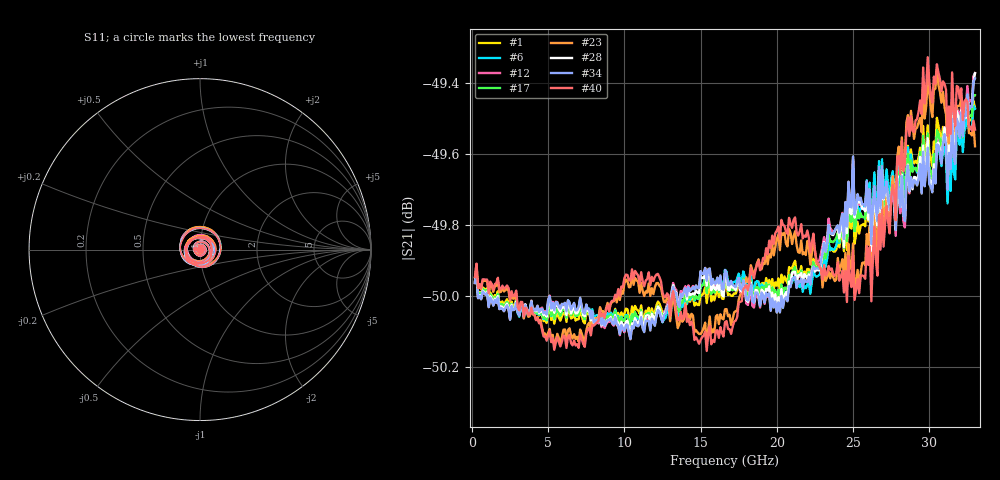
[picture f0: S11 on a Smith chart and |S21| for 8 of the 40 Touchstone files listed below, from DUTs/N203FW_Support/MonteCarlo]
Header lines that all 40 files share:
# GHZ S RI R 50
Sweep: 200 MHz to 33 GHz
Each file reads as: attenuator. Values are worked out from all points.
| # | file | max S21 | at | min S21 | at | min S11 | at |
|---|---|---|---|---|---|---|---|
| 1 | N203FW_1.s2p | -49.44 dB | 32.5 GHz | -50.1 dB | 5.4 GHz | -47.0 dB | 2.4 GHz |
| 2 | N203FW_3.s2p | -49.41 dB | 32.9 GHz | -50.1 dB | 10.4 GHz | -48.0 dB | 2.5 GHz |
| 3 | N203FW_7.s2p | -49.45 dB | 30.5 GHz | -50.1 dB | 5.4 GHz | -47.6 dB | 2.4 GHz |
| 4 | N203FW_8.s2p | -49.45 dB | 32.5 GHz | -50.1 dB | 13.5 GHz | -48.3 dB | 2.4 GHz |
| 5 | N203FW_9.s2p | -49.44 dB | 32.9 GHz | -50.1 dB | 10.4 GHz | -48.2 dB | 2.5 GHz |
| 6 | N203FW_11.s2p | -49.46 dB | 32.9 GHz | -50.1 dB | 11.3 GHz | -47.3 dB | 2.5 GHz |
| 7 | N203FW_12.s2p | -49.44 dB | 32.9 GHz | -50.1 dB | 11.7 GHz | -47.8 dB | 2.5 GHz |
| 8 | N203FW_14.s2p | -49.44 dB | 32.9 GHz | -50.1 dB | 11.3 GHz | -47.3 dB | 2.5 GHz |
| 9 | N203FW_15.s2p | -49.26 dB | 30.5 GHz | -50.2 dB | 15.4 GHz | -48.8 dB | 2.3 GHz |
| 10 | N203FW_16.s2p | -49.45 dB | 32.9 GHz | -50.1 dB | 10.4 GHz | -47.2 dB | 2.5 GHz |
| 11 | N203FW_18.s2p | -49.42 dB | 30.5 GHz | -50.1 dB | 7.4 GHz | -47.2 dB | 2.3 GHz |
| 12 | N203FW_20.s2p | -49.37 dB | 33 GHz | -50.1 dB | 10.4 GHz | -47.8 dB | 2.5 GHz |
| 13 | N203FW_21.s2p | -49.34 dB | 29.9 GHz | -50.1 dB | 6.2 GHz | -49.1 dB | 2.3 GHz |
| 14 | N203FW_22.s2p | -49.44 dB | 32.9 GHz | -50.1 dB | 9.7 GHz | -47.1 dB | 2.5 GHz |
| 15 | N203FW_23.s2p | -49.41 dB | 33 GHz | -50.1 dB | 10.4 GHz | -48.3 dB | 2.3 GHz |
| 16 | N203FW_24.s2p | -49.41 dB | 33 GHz | -50.1 dB | 10.4 GHz | -47.6 dB | 2.6 GHz |
| 17 | N203FW_26.s2p | -49.43 dB | 32.9 GHz | -50.1 dB | 10.4 GHz | -48.4 dB | 2.3 GHz |
| 18 | N203FW_27.s2p | -49.27 dB | 30.5 GHz | -50.2 dB | 15.4 GHz | -49.6 dB | 2.3 GHz |
| 19 | N203FW_31.s2p | -49.21 dB | 30.5 GHz | -50.2 dB | 15.4 GHz | -49.5 dB | 2.3 GHz |
| 20 | N203FW_36.s2p | -49.44 dB | 32.9 GHz | -50.1 dB | 11.3 GHz | -48.6 dB | 2.3 GHz |
| 21 | N203FW_37.s2p | -49.36 dB | 33 GHz | -50.1 dB | 10.4 GHz | -48.6 dB | 2.5 GHz |
| 22 | N203FW_39.s2p | -49.42 dB | 33 GHz | -50.1 dB | 10.4 GHz | -48.4 dB | 2.5 GHz |
| 23 | N203FW_41.s2p | -49.36 dB | 30.5 GHz | -50.1 dB | 5.4 GHz | -47.5 dB | 2.3 GHz |
| 24 | N203FW_43.s2p | -49.19 dB | 29.9 GHz | -50.3 dB | 15.4 GHz | -50.3 dB | 2.3 GHz |
| 25 | N203FW_44.s2p | -49.39 dB | 33 GHz | -50.1 dB | 10.4 GHz | -48.5 dB | 2.5 GHz |
| 26 | N203FW_45.s2p | -49.46 dB | 33 GHz | -50.1 dB | 10.4 GHz | -47.9 dB | 2.5 GHz |
| 27 | N203FW_46.s2p | -49.26 dB | 30.5 GHz | -50.2 dB | 15.4 GHz | -49.6 dB | 2.3 GHz |
| 28 | N203FW_47.s2p | -49.37 dB | 33 GHz | -50.1 dB | 10.4 GHz | -48.6 dB | 2.5 GHz |
| 29 | N203FW_49.s2p | -49.29 dB | 29.9 GHz | -50.2 dB | 15.4 GHz | -48.2 dB | 2.1 GHz |
| 30 | N203FW_51.s2p | -49.41 dB | 32.9 GHz | -50.1 dB | 10.4 GHz | -47.7 dB | 2.5 GHz |
| 31 | N203FW_54.s2p | -49.40 dB | 29.9 GHz | -50.1 dB | 5.4 GHz | -47.2 dB | 2.3 GHz |
| 32 | N203FW_57.s2p | -49.41 dB | 33 GHz | -50.1 dB | 10.4 GHz | -47.7 dB | 2.5 GHz |
| 33 | N203FW_58.s2p | -49.41 dB | 32.5 GHz | -50.1 dB | 11.3 GHz | -48.1 dB | 2.4 GHz |
| 34 | N203FW_61.s2p | -49.39 dB | 33 GHz | -50.1 dB | 10.4 GHz | -48.6 dB | 2.5 GHz |
| 35 | N203FW_64.s2p | -49.41 dB | 33 GHz | -50.1 dB | 10.4 GHz | -47.2 dB | 2.5 GHz |
| 36 | N203FW_65.s2p | -49.24 dB | 30.5 GHz | -50.2 dB | 15.4 GHz | -48.4 dB | 2.3 GHz |
| 37 | N203FW_68.s2p | -49.42 dB | 32.5 GHz | -50.1 dB | 7.4 GHz | -47.3 dB | 2.4 GHz |
| 38 | N203FW_70.s2p | -49.41 dB | 32.9 GHz | -50.1 dB | 10.4 GHz | -48.4 dB | 2.4 GHz |
| 39 | N203FW_72.s2p | -49.43 dB | 32.9 GHz | -50.1 dB | 10.4 GHz | -48.0 dB | 2.5 GHz |
| 40 | N203FW_76.s2p | -49.33 dB | 29.9 GHz | -50.2 dB | 15.4 GHz | -49.2 dB | 2.3 GHz |
